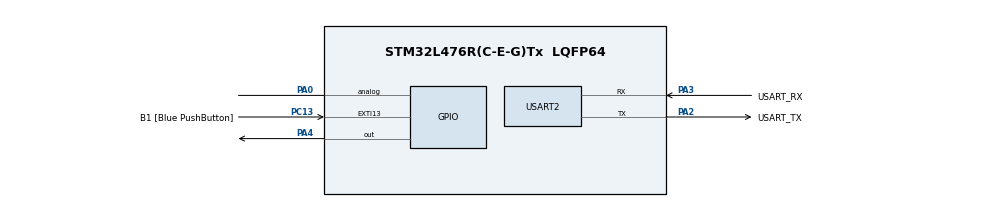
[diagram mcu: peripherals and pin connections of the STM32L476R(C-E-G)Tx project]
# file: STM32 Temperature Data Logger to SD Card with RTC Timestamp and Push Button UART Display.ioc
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Mcu.Family=STM32L4
Mcu.Name=STM32L476R(C-E-G)Tx
Mcu.Package=LQFP64
NVIC.PriorityGroup=NVIC_PRIORITYGROUP_4
PA0.Signal=GPIO_Analog
PA13\ (JTMS-SWDIO).GPIO_Label=TMS
PA13\ (JTMS-SWDIO).Mode=Serial_Wire
PA13\ (JTMS-SWDIO).Signal=SYS_JTMS-SWDIO
PA14\ (JTCK-SWCLK).GPIO_Label=TCK
PA14\ (JTCK-SWCLK).Mode=Serial_Wire
PA14\ (JTCK-SWCLK).Signal=SYS_JTCK-SWCLK
PA2.GPIO_Label=USART_TX
PA2.GPIO_Mode=GPIO_MODE_AF_PP
PA2.GPIO_PuPd=GPIO_NOPULL
PA2.GPIO_Speed=GPIO_SPEED_FREQ_VERY_HIGH
PA2.Mode=Asynchronous
PA2.Signal=USART2_TX
PA3.GPIO_Label=USART_RX
PA3.GPIO_Mode=GPIO_MODE_AF_PP
PA3.GPIO_PuPd=GPIO_NOPULL
PA3.GPIO_Speed=GPIO_SPEED_FREQ_VERY_HIGH
PA3.Mode=Asynchronous
PA3.Signal=USART2_RX
PA4.Signal=GPIO_Output
PA5.Signal=SPI1_SCK
PA6.Signal=SPI1_MISO
PA7.Signal=SPI1_MOSI
PB3\ (JTDO-TRACESWO).GPIO_Label=SWO
PB3\ (JTDO-TRACESWO).Signal=SYS_JTDO-SWO
PC13.GPIO_Label=B1 [Blue PushButton]
PC13.GPIO_ModeDefaultEXTI=GPIO_MODE_IT_FALLING
PC13.GPIO_PuPd=GPIO_NOPULL
PC13.Signal=GPXTI13
PC14-OSC32_IN\ (PC14).Mode=LSE-External-Oscillator
PC14-OSC32_IN\ (PC14).Signal=RCC_OSC32_IN
PC15-OSC32_OUT\ (PC15).Mode=LSE-External-Oscillator
PC15-OSC32_OUT\ (PC15).Signal=RCC_OSC32_OUT
PH0-OSC_IN\ (PH0).Signal=RCC_OSC_IN
PH1-OSC_OUT\ (PH1).Signal=RCC_OSC_OUT
ProjectManager.HeapSize=0x200
ProjectManager.StackSize=0x400
ProjectManager.TargetToolchain=STM32CubeIDE
RCC.ADCFreq_Value=64000000
RCC.AHBFreq_Value=80000000
RCC.APB1Freq_Value=80000000
RCC.APB1TimFreq_Value=80000000
RCC.APB2Freq_Value=80000000
RCC.APB2TimFreq_Value=80000000
RCC.CortexFreq_Value=80000000
RCC.HCLKFreq_Value=80000000
RCC.HSE_VALUE=8000000
RCC.HSI_VALUE=16000000
RCC.MSI_VALUE=4000000
RCC.PLLN=10
RCC.PLLSourceVirtual=RCC_PLLSOURCE_HSI
RCC.PREFETCH_ENABLE=1
RCC.SYSCLKFreq_VALUE=80000000
RCC.SYSCLKSource=RCC_SYSCLKSOURCE_PLLCLK
RCC.USBFreq_Value=64000000
RCC.VCOOutputFreq_Value=160000000
USART2.VirtualMode-Asynchronous=VM_ASYNC
VP_FATFS_VS_Generic.Mode=User_defined
board=NUCLEO-L476RG

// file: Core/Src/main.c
/* USER CODE BEGIN Header */
/**
  ******************************************************************************
  * @file           : main.c
  * @brief          : Main program body
  ******************************************************************************
  * @attention
  *
  * Copyright (c) 2026 STMicroelectronics.
  * All rights reserved.
  *
  * This software is licensed under terms that can be found in the LICENSE file
  * in the root directory of this software component.
  * If no LICENSE file comes with this software, it is provided AS-IS.
  *
  ******************************************************************************
  */
/* USER CODE END Header */
#include "main.h"
#include "fatfs.h"

/* USER CODE BEGIN Includes */
#include "ff.h"
#include "string.h"
#include "spi.h"
#include "sdcard.h"
/* USER CODE END Includes */

/* USER CODE BEGIN PV */
FATFS fs;
FIL fil;
FRESULT fres;
UINT bw;
/* USER CODE END PV */

void SystemClock_Config(void);
static void MX_GPIO_Init(void);
static void MX_USART2_UART_Init(void);
/* USER CODE BEGIN PFP */
static void UART2_SendChar(char c);
static void UART2_SendString(const char *str);
static void delay_ms(uint32_t ms);
/* USER CODE END PFP */

/* USER CODE BEGIN 0 */
static void UART2_SendChar(char c)
{
  while (!LL_USART_IsActiveFlag_TXE(USART2));
  LL_USART_TransmitData8(USART2, (uint8_t)c);
}

static void UART2_SendString(const char *str)
{
  while (*str)
  {
    UART2_SendChar(*str++);
  }
}

static void delay_ms(uint32_t ms)
{
  HAL_Delay(ms);
}
/* USER CODE END 0 */

int main(void)
{

  /* MCU Configuration--------------------------------------------------------*/

  /* Reset of all peripherals, Initializes the Flash interface and the Systick. */
  HAL_Init();

  /* Configure the system clock */
  SystemClock_Config();

  /* Initialize all configured peripherals */
  MX_GPIO_Init();
  MX_USART2_UART_Init();
  MX_FATFS_Init();
  /* USER CODE BEGIN 2 */
  const char data[] = "Hello Kesava\r\nSTM32 SD card write successful\r\n";

  UART2_SendString("SD INIT START\r\n");
  delay_ms(200);

  SPI1_Init();

  if (!SD_Init())
  {
    UART2_SendString("SD INIT FAILED\r\n");
    while (1)
    {
    }
  }
  UART2_SendString("SD CARD OK\r\n");

  UART2_SendString("SD FILE CREATE TEST\r\n");

  fres = f_mount(&fs, "", 1);
  if (fres != FR_OK)
  {
    UART2_SendString("Mount FAILED\r\n");
    while (1)
    {
    }
  }
  UART2_SendString("Mount OK\r\n");

  fres = f_open(&fil, "test.txt", FA_CREATE_ALWAYS | FA_WRITE);
  if (fres != FR_OK)
  {
    UART2_SendString("File Create FAILED\r\n");
    while (1)
    {
    }
  }
  UART2_SendString("File Created\r\n");

  bw = 0;
  fres = f_write(&fil, data, strlen(data), &bw);
  if ((fres != FR_OK) || (bw != strlen(data)))
  {
    UART2_SendString("Write FAILED\r\n");
    f_close(&fil);
    while (1)
    {
    }
  }
  UART2_SendString("Write OK\r\n");

  fres = f_sync(&fil);
  if (fres != FR_OK)
  {
    UART2_SendString("Sync FAILED\r\n");
    f_close(&fil);
    while (1)
    {
    }
  }

  fres = f_close(&fil);
  if (fres != FR_OK)
  {
    UART2_SendString("File Close FAILED\r\n");
    while (1)
    {
    }
  }
  UART2_SendString("File Closed\r\n");
  /* USER CODE END 2 */

  /* Infinite loop */
  while (1)
  {

  }
}

void SystemClock_Config(void)
{
  LL_FLASH_SetLatency(LL_FLASH_LATENCY_4);
  while(LL_FLASH_GetLatency()!= LL_FLASH_LATENCY_4)
  {
  }
  LL_PWR_SetRegulVoltageScaling(LL_PWR_REGU_VOLTAGE_SCALE1);
  while (LL_PWR_IsActiveFlag_VOS() != 0)
  {
  }
  LL_RCC_HSI_Enable();

   /* Wait till HSI is ready */
  while(LL_RCC_HSI_IsReady() != 1)
  {

  }
  LL_RCC_HSI_SetCalibTrimming(16);
  LL_RCC_PLL_ConfigDomain_SYS(LL_RCC_PLLSOURCE_HSI, LL_RCC_PLLM_DIV_1, 10, LL_RCC_PLLR_DIV_2);
  LL_RCC_PLL_EnableDomain_SYS();
  LL_RCC_PLL_Enable();

   /* Wait till PLL is ready */
  while(LL_RCC_PLL_IsReady() != 1)
  {

  }
  LL_RCC_SetSysClkSource(LL_RCC_SYS_CLKSOURCE_PLL);

   /* Wait till System clock is ready */
  while(LL_RCC_GetSysClkSource() != LL_RCC_SYS_CLKSOURCE_STATUS_PLL)
  {

  }
  LL_RCC_SetAHBPrescaler(LL_RCC_SYSCLK_DIV_1);
  LL_RCC_SetAPB1Prescaler(LL_RCC_APB1_DIV_1);
  LL_RCC_SetAPB2Prescaler(LL_RCC_APB2_DIV_1);
  LL_SetSystemCoreClock(80000000);

   /* Update the time base */
  if (HAL_InitTick (TICK_INT_PRIORITY) != HAL_OK)
  {
    Error_Handler();
  }
}

static void MX_USART2_UART_Init(void)
{

  LL_USART_InitTypeDef USART_InitStruct = {0};

  LL_GPIO_InitTypeDef GPIO_InitStruct = {0};

  LL_RCC_SetUSARTClockSource(LL_RCC_USART2_CLKSOURCE_PCLK1);

  /* Peripheral clock enable */
  LL_APB1_GRP1_EnableClock(LL_APB1_GRP1_PERIPH_USART2);

  LL_AHB2_GRP1_EnableClock(LL_AHB2_GRP1_PERIPH_GPIOA);
  /**USART2 GPIO Configuration
  PA2   ------> USART2_TX
  PA3   ------> USART2_RX
  */
  GPIO_InitStruct.Pin = USART_TX_Pin|USART_RX_Pin;
  GPIO_InitStruct.Mode = LL_GPIO_MODE_ALTERNATE;
  GPIO_InitStruct.Speed = LL_GPIO_SPEED_FREQ_VERY_HIGH;
  GPIO_InitStruct.OutputType = LL_GPIO_OUTPUT_PUSHPULL;
  GPIO_InitStruct.Pull = LL_GPIO_PULL_NO;
  GPIO_InitStruct.Alternate = LL_GPIO_AF_7;
  LL_GPIO_Init(GPIOA, &GPIO_InitStruct);

  USART_InitStruct.BaudRate = 115200;
  USART_InitStruct.DataWidth = LL_USART_DATAWIDTH_8B;
  USART_InitStruct.StopBits = LL_USART_STOPBITS_1;
  USART_InitStruct.Parity = LL_USART_PARITY_NONE;
  USART_InitStruct.TransferDirection = LL_USART_DIRECTION_TX_RX;
  USART_InitStruct.HardwareFlowControl = LL_USART_HWCONTROL_NONE;
  USART_InitStruct.OverSampling = LL_USART_OVERSAMPLING_16;
  LL_USART_Init(USART2, &USART_InitStruct);
  LL_USART_ConfigAsyncMode(USART2);
  LL_USART_Enable(USART2);

}

static void MX_GPIO_Init(void)
{
  LL_EXTI_InitTypeDef EXTI_InitStruct = {0};
  LL_GPIO_InitTypeDef GPIO_InitStruct = {0};

  /* GPIO Ports Clock Enable */
  LL_AHB2_GRP1_EnableClock(LL_AHB2_GRP1_PERIPH_GPIOC);
  LL_AHB2_GRP1_EnableClock(LL_AHB2_GRP1_PERIPH_GPIOH);
  LL_AHB2_GRP1_EnableClock(LL_AHB2_GRP1_PERIPH_GPIOA);
  LL_AHB2_GRP1_EnableClock(LL_AHB2_GRP1_PERIPH_GPIOB);

  /**/
  LL_GPIO_ResetOutputPin(GPIOA, LL_GPIO_PIN_4);

  /**/
  LL_SYSCFG_SetEXTISource(LL_SYSCFG_EXTI_PORTC, LL_SYSCFG_EXTI_LINE13);

  /**/
  EXTI_InitStruct.Line_0_31 = LL_EXTI_LINE_13;
  EXTI_InitStruct.Line_32_63 = LL_EXTI_LINE_NONE;
  EXTI_InitStruct.LineCommand = ENABLE;
  EXTI_InitStruct.Mode = LL_EXTI_MODE_IT;
  EXTI_InitStruct.Trigger = LL_EXTI_TRIGGER_FALLING;
  LL_EXTI_Init(&EXTI_InitStruct);

  /**/
  LL_GPIO_SetPinPull(B1_GPIO_Port, B1_Pin, LL_GPIO_PULL_NO);

  /**/
  LL_GPIO_SetPinMode(B1_GPIO_Port, B1_Pin, LL_GPIO_MODE_INPUT);

  /**/
  GPIO_InitStruct.Pin = LL_GPIO_PIN_0;
  GPIO_InitStruct.Mode = LL_GPIO_MODE_ANALOG;
  GPIO_InitStruct.Pull = LL_GPIO_PULL_NO;
  LL_GPIO_Init(GPIOA, &GPIO_InitStruct);

  /**/
  GPIO_InitStruct.Pin = LL_GPIO_PIN_4;
  GPIO_InitStruct.Mode = LL_GPIO_MODE_OUTPUT;
  GPIO_InitStruct.Speed = LL_GPIO_SPEED_FREQ_LOW;
  GPIO_InitStruct.OutputType = LL_GPIO_OUTPUT_PUSHPULL;
  GPIO_InitStruct.Pull = LL_GPIO_PULL_NO;
  LL_GPIO_Init(GPIOA, &GPIO_InitStruct);

  /**/
  GPIO_InitStruct.Pin = LL_GPIO_PIN_5|LL_GPIO_PIN_6|LL_GPIO_PIN_7;
  GPIO_InitStruct.Mode = LL_GPIO_MODE_ALTERNATE;
  GPIO_InitStruct.Speed = LL_GPIO_SPEED_FREQ_VERY_HIGH;
  GPIO_InitStruct.OutputType = LL_GPIO_OUTPUT_PUSHPULL;
  GPIO_InitStruct.Pull = LL_GPIO_PULL_NO;
  GPIO_InitStruct.Alternate = LL_GPIO_AF_5;
  LL_GPIO_Init(GPIOA, &GPIO_InitStruct);

}

void Error_Handler(void)
{
  __disable_irq();
  while (1)
  {
  }
}
